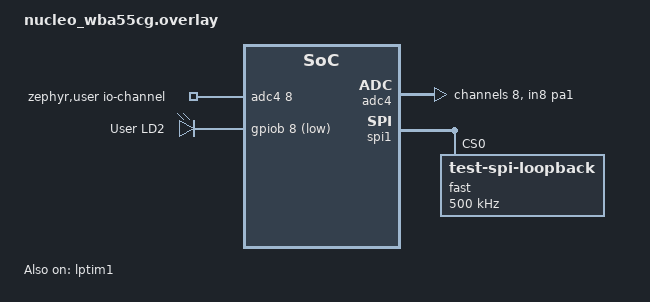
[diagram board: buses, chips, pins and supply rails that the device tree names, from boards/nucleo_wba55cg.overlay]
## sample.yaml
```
sample:
  name: STM32 PM Standby Power Management
tests:
  sample.boards.stm32.power_mgmt.suspend_to_ram:
    tags:
      - power
    harness: console
    harness_config:
      type: one_line
      regex:
        - "Exit Standby"
    filter: dt_compat_enabled("zephyr,power-state") and
            dt_enabled_alias_with_parent_compat("led0", "gpio-leds") and
            dt_compat_enabled("st,stm32-lptim")
    extra_args: "CONFIG_DEBUG=y"
    platform_allow:
      - nucleo_wba55cg/stm32wba55xx
```

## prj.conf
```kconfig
CONFIG_PM=y
CONFIG_PM_DEVICE=y
CONFIG_PM_DEVICE_RUNTIME=y
CONFIG_PM_DEVICE_SYSTEM_MANAGED=y
CONFIG_PM_S2RAM=y
CONFIG_ADC=y
CONFIG_ENTROPY_GENERATOR=y
CONFIG_SPI=y
CONFIG_SPI_STM32_DMA=y
CONFIG_SPI_STM32_INTERRUPT=n
CONFIG_SPI_ASYNC=n
```

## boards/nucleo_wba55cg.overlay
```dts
/*
 * SPDX-License-Identifier: Apache-2.0
 *
 * Copyright (c) 2023 STMicroelectronics
 */

/ {
	/* Change min residency time to ease power consumption measurement */
	cpus {
		cpu0: cpu@0 {
			cpu-power-states = <&stop0 &stop1 &standby>;
		};

		power-states {
			stop0: state0 {
				min-residency-us = <500000>;
				exit-latency-us = <50>;
			};
			stop1: state1 {
				min-residency-us = <1000000>;
				exit-latency-us = <100>;
			};
			standby: state2 {
				min-residency-us = <2000000>;
				exit-latency-us = <1000>;
			};
		};
	};

	zephyr,user {
		/* adjust channel number according to pinmux in board.dts */
		io-channels = <&adc4 8>;
	};

	leds: leds {
		compatible = "gpio-leds";
		red_led_3: led_3 {
			gpios = <&gpiob 8 GPIO_ACTIVE_LOW>;
			label = "User LD2";
		};
	};

	aliases {
		led2 = &red_led_3;
	};
};

&lptim1 {
	status = "okay";
};

&adc4 {
	pinctrl-0 = <&adc4_in8_pa1>;
	#address-cells = <1>;
	#size-cells = <0>;

	channel@8 {
		reg = <8>;
		zephyr,gain = "ADC_GAIN_1";
		zephyr,reference = "ADC_REF_INTERNAL";
		zephyr,acquisition-time = <ADC_ACQ_TIME_MAX>;
		zephyr,resolution = <12>;
	};
};

&spi1 {
	dmas = <&gpdma1 0 2 (STM32_DMA_PERIPH_TX | STM32_DMA_PRIORITY_HIGH)
		&gpdma1 1 1 (STM32_DMA_PERIPH_RX | STM32_DMA_PRIORITY_HIGH)>;
	dma-names = "tx", "rx";
	fast@0 {
		compatible = "test-spi-loopback";
		reg = <0>;
		spi-max-frequency = <500000>;
	};
};

&gpdma1 {
	status = "okay";
};
```

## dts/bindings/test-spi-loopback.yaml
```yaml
#
# Copyright (c) 2022 Kumar Gala <galak@kernel.org>
#
# SPDX-License-Identifier: Apache-2.0
#

description: |
    This binding provides resources required to build and run the
    tests/drivers/spi/spi_loopback test in Zephyr.

compatible: "test-spi-loopback"

include: [spi-device.yaml]
```

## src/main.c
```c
/*
 * Copyright (c) 2024 STMicroelectronics
 *
 * SPDX-License-Identifier: Apache-2.0
 */

#include <zephyr/kernel.h>
#include <zephyr/device.h>
#include <zephyr/devicetree.h>
#include <zephyr/drivers/gpio.h>
#include <zephyr/sys/printk.h>
#include <zephyr/pm/pm.h>
#include <zephyr/pm/device_runtime.h>
#include <zephyr/drivers/adc.h>
#include <zephyr/drivers/entropy.h>
#include <string.h>

#define SLEEP_TIME_STOP0_MS	800
#define SLEEP_TIME_STOP1_MS	1500
#define SLEEP_TIME_STANDBY_MS	3000
#define SLEEP_TIME_BUSY_MS	2000

static const struct gpio_dt_spec led =
	GPIO_DT_SPEC_GET(DT_ALIAS(led0), gpios);

#if !DT_NODE_EXISTS(DT_PATH(zephyr_user)) || \
	!DT_NODE_HAS_PROP(DT_PATH(zephyr_user), io_channels)
#error "No suitable devicetree overlay specified"
#endif

#define DT_SPEC_AND_COMMA(node_id, prop, idx) \
	ADC_DT_SPEC_GET_BY_IDX(node_id, idx),

/* Data of ADC io-channels specified in devicetree. */
static const struct adc_dt_spec adc_channels[] = {
	DT_FOREACH_PROP_ELEM(DT_PATH(zephyr_user), io_channels,
			     DT_SPEC_AND_COMMA)
};

const struct device *rng_dev;

#define BUFFER_LENGTH	3

static uint8_t entropy_buffer[BUFFER_LENGTH] = {0};

static int adc_test(void)
{
	int err;
	static uint32_t count;
	uint16_t buf;
	struct adc_sequence sequence = {
		.buffer = &buf,
		/* buffer size in bytes, not number of samples */
		.buffer_size = sizeof(buf),
	};

	/* Configure channels individually prior to sampling. */
	for (size_t i = 0U; i < ARRAY_SIZE(adc_channels); i++) {
		if (!adc_is_ready_dt(&adc_channels[i])) {
			printk("ADC controller device %s not ready\n", adc_channels[i].dev->name);
			return 0;
		}

		err = adc_channel_setup_dt(&adc_channels[i]);
		if (err < 0) {
			printk("Could not setup channel #%d (%d)\n", i, err);
			return 0;
		}
	}

	printk("ADC reading[%u]:\n", count++);
	for (size_t i = 0U; i < ARRAY_SIZE(adc_channels); i++) {
		int32_t val_mv;

		printk("- %s, channel %d: ",
			adc_channels[i].dev->name,
			adc_channels[i].channel_id);

		(void)adc_sequence_init_dt(&adc_channels[i], &sequence);

		err = adc_read_dt(&adc_channels[i], &sequence);
		if (err < 0) {
			printk("Could not read (%d)\n", err);
			continue;
		}

		/*
		 * If using differential mode, the 16 bit value
		 * in the ADC sample buffer should be a signed 2's
		 * complement value.
		 */
		if (adc_channels[i].channel_cfg.differential) {
			val_mv = (int32_t)((int16_t)buf);
		} else {
			val_mv = (int32_t)buf;
		}
		printk("%"PRId32, val_mv);
		err = adc_raw_to_millivolts_dt(&adc_channels[i],
						&val_mv);
		/* conversion to mV may not be supported, skip if not */
		if (err < 0) {
			printk(" (value in mV not available)\n");
		} else {
			printk(" = %"PRId32" mV\n", val_mv);
		}
	}

	return 0;
}

void print_buf(uint8_t *buffer)
{
	int i;
	int count = 0;

	for (i = 0; i < BUFFER_LENGTH; i++) {
		printk("  0x%02x", buffer[i]);
		if (buffer[i] == 0x00) {
			count++;
		}
	}
	printk("\n");
}

int main(void)
{
	__ASSERT_NO_MSG(gpio_is_ready_dt(&led));

	rng_dev = DEVICE_DT_GET(DT_CHOSEN(zephyr_entropy));
	if (!device_is_ready(rng_dev)) {
		printk("error: random device not ready");
	}

	printk("Device ready\n");

	while (true) {
		gpio_pin_configure_dt(&led, GPIO_OUTPUT_ACTIVE);
		adc_test();
		k_busy_wait(SLEEP_TIME_BUSY_MS*1000);
		gpio_pin_set_dt(&led, 0);
		k_msleep(SLEEP_TIME_STOP0_MS);
		printk("Exit Stop0\n");

		gpio_pin_set_dt(&led, 1);
		adc_test();
		k_busy_wait(SLEEP_TIME_BUSY_MS*1000);
		gpio_pin_set_dt(&led, 0);
		k_msleep(SLEEP_TIME_STOP1_MS);
		printk("Exit Stop1\n");

		(void)memset(entropy_buffer, 0x00, BUFFER_LENGTH);
		entropy_get_entropy(rng_dev, (char *)entropy_buffer, BUFFER_LENGTH);
		printk("Sync entropy: ");
		print_buf(entropy_buffer);

		gpio_pin_set_dt(&led, 1);
		adc_test();
		k_busy_wait(SLEEP_TIME_BUSY_MS*1000);
		gpio_pin_configure_dt(&led, GPIO_DISCONNECTED);
		k_msleep(SLEEP_TIME_STANDBY_MS);
		printk("Exit Standby\n");
	}
	return 0;
}
```
